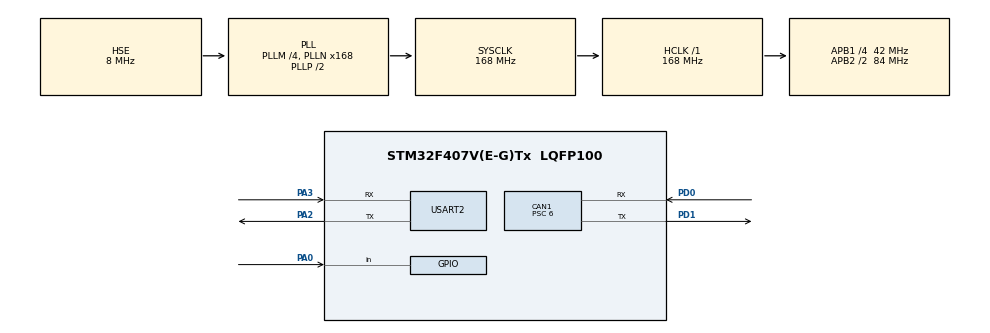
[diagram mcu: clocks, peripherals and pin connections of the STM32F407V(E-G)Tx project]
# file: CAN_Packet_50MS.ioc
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CAN1.BS1=CAN_BS1_11TQ
CAN1.BS2=CAN_BS2_2TQ
CAN1.CalculateBaudRate=500000
CAN1.CalculateTimeBit=2000
CAN1.CalculateTimeQuantum=142.85714285714286
CAN1.Mode=CAN_MODE_LOOPBACK
CAN1.Prescaler=6
FREERTOS.BinarySemaphores01=BinSem,Dynamic,NULL
FREERTOS.Mutexes01=CANMutex,Dynamic,NULL
FREERTOS.Tasks01=CAN1,-2,128,CanLowPriorityTask,Default,NULL,Dynamic,NULL,NULL;CAN2,0,128,CanNormalPriorityTask,Default,NULL,Dynamic,NULL,NULL;CAN3,1,128,CANAboveNormalPriorityTask,Default,NULL,Dynamic,NULL,NULL;CAN4,2,128,CANHighPriorityTask,Default,NULL,Dynamic,NULL,NULL
FREERTOS.configUSE_NEWLIB_REENTRANT=1
Mcu.Family=STM32F4
Mcu.Name=STM32F407V(E-G)Tx
Mcu.Package=LQFP100
NVIC.PriorityGroup=NVIC_PRIORITYGROUP_4
NVIC.TIM1_UP_TIM10_IRQn=true\:15\:0\:false\:false\:true\:false\:false\:true\:true
NVIC.TimeBase=TIM1_UP_TIM10_IRQn
NVIC.TimeBaseIP=TIM1
PA0-WKUP.Signal=GPIO_Input
PA2.Mode=Asynchronous
PA2.Signal=USART2_TX
PA3.Mode=Asynchronous
PA3.Signal=USART2_RX
PD0.Mode=CAN_Activate
PD0.Signal=CAN1_RX
PD1.Mode=CAN_Activate
PD1.Signal=CAN1_TX
PH0-OSC_IN.Mode=HSE-External-Oscillator
PH0-OSC_IN.Signal=RCC_OSC_IN
PH1-OSC_OUT.Mode=HSE-External-Oscillator
PH1-OSC_OUT.Signal=RCC_OSC_OUT
ProjectManager.HeapSize=0x200
ProjectManager.StackSize=0x400
ProjectManager.TargetToolchain=STM32CubeIDE
RCC.48MHZClocksFreq_Value=48000000
RCC.AHBFreq_Value=168000000
RCC.APB1CLKDivider=RCC_HCLK_DIV4
RCC.APB1Freq_Value=42000000
RCC.APB1TimFreq_Value=84000000
RCC.APB2CLKDivider=RCC_HCLK_DIV2
RCC.APB2Freq_Value=84000000
RCC.APB2TimFreq_Value=168000000
RCC.CortexFreq_Value=168000000
RCC.HCLKFreq_Value=168000000
RCC.HSE_VALUE=8000000
RCC.HSI_VALUE=16000000
RCC.LSE_VALUE=32768
RCC.PLLM=4
RCC.PLLN=168
RCC.PLLQ=7
RCC.PLLSourceVirtual=RCC_PLLSOURCE_HSE
RCC.SYSCLKFreq_VALUE=168000000
RCC.SYSCLKSource=RCC_SYSCLKSOURCE_PLLCLK
RCC.VCOOutputFreq_Value=336000000
USART2.VirtualMode=VM_ASYNC
VP_FREERTOS_VS_CMSIS_V1.Mode=CMSIS_V1
VP_SYS_VS_tim1.Mode=TIM1
board=STM32F407G-DISC1

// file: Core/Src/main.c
/* USER CODE BEGIN Header */
/**
  ******************************************************************************
  * @file           : main.c
  * @brief          : Main program body
  ******************************************************************************
  * @attention
  *
  * Copyright (c) 2024 STMicroelectronics.
  * All rights reserved.
  *
  * This software is licensed under terms that can be found in the LICENSE file
  * in the root directory of this software component.
  * If no LICENSE file comes with this software, it is provided AS-IS.
  *
  ******************************************************************************
  */
/* USER CODE END Header */
#include "main.h"
#include "cmsis_os.h"

/* USER CODE BEGIN Includes */
#include <string.h>
#include <stdio.h>

/* USER CODE END Includes */

CAN_HandleTypeDef hcan1;

UART_HandleTypeDef huart2;

osThreadId CAN1Handle;
osThreadId CAN2Handle;
osThreadId CAN3Handle;
osThreadId CAN4Handle;
osMutexId CANMutexHandle;
osSemaphoreId BinSemHandle;
/* USER CODE BEGIN PV */

CAN_TxHeaderTypeDef TxHeader;

uint8_t TxData[8];

uint32_t TxMailBox;
uint8_t x=0;

/* USER CODE END PV */

void SystemClock_Config(void);
static void MX_GPIO_Init(void);
static void MX_USART2_UART_Init(void);
static void MX_CAN1_Init(void);
void CanLowPriorityTask(void const * argument);
void CanNormalPriorityTask(void const * argument);
void CANAboveNormalPriorityTask(void const * argument);
void CANHighPriorityTask(void const * argument);

/* USER CODE BEGIN PFP */
void printmsg(char *msg);
void CAN_HP(void);
void CAN_LP(void);
void CAN_NP(void);
void CAN_ANP(void);

/* USER CODE END PFP */

int main(void)
{

  /* MCU Configuration--------------------------------------------------------*/

  /* Reset of all peripherals, Initializes the Flash interface and the Systick. */
  HAL_Init();

  /* Configure the system clock */
  SystemClock_Config();

  /* Initialize all configured peripherals */
  MX_GPIO_Init();
  MX_USART2_UART_Init();
  MX_CAN1_Init();
  /* USER CODE BEGIN 2 */

HAL_CAN_Start(&hcan1);

  /* USER CODE END 2 */

  /* Create the mutex(es) */
  /* definition and creation of CANMutex */
  osMutexDef(CANMutex);
  CANMutexHandle = osMutexCreate(osMutex(CANMutex));

  /* Create the semaphores(s) */
  /* definition and creation of BinSem */
  osSemaphoreDef(BinSem);
  BinSemHandle = osSemaphoreCreate(osSemaphore(BinSem), 1);

  /* Create the thread(s) */
  /* definition and creation of CAN1 */
  osThreadDef(CAN1, CanLowPriorityTask, osPriorityLow, 0, 128);
  CAN1Handle = osThreadCreate(osThread(CAN1), NULL);

  /* definition and creation of CAN2 */
  osThreadDef(CAN2, CanNormalPriorityTask, osPriorityNormal, 0, 128);
  CAN2Handle = osThreadCreate(osThread(CAN2), NULL);

  /* definition and creation of CAN3 */
  osThreadDef(CAN3, CANAboveNormalPriorityTask, osPriorityAboveNormal, 0, 128);
  CAN3Handle = osThreadCreate(osThread(CAN3), NULL);

  /* definition and creation of CAN4 */
  osThreadDef(CAN4, CANHighPriorityTask, osPriorityHigh, 0, 128);
  CAN4Handle = osThreadCreate(osThread(CAN4), NULL);

  /* Start scheduler */
  osKernelStart();

  /* We should never get here as control is now taken by the scheduler */
  /* Infinite loop */
  while (1)
  {

  }
}

void SystemClock_Config(void)
{
  RCC_OscInitTypeDef RCC_OscInitStruct = {0};
  RCC_ClkInitTypeDef RCC_ClkInitStruct = {0};

  /** Configure the main internal regulator output voltage
  */
  __HAL_RCC_PWR_CLK_ENABLE();
  __HAL_PWR_VOLTAGESCALING_CONFIG(PWR_REGULATOR_VOLTAGE_SCALE1);

  /** Initializes the RCC Oscillators according to the specified parameters
  * in the RCC_OscInitTypeDef structure.
  */
  RCC_OscInitStruct.OscillatorType = RCC_OSCILLATORTYPE_HSE;
  RCC_OscInitStruct.HSEState = RCC_HSE_ON;
  RCC_OscInitStruct.PLL.PLLState = RCC_PLL_ON;
  RCC_OscInitStruct.PLL.PLLSource = RCC_PLLSOURCE_HSE;
  RCC_OscInitStruct.PLL.PLLM = 4;
  RCC_OscInitStruct.PLL.PLLN = 168;
  RCC_OscInitStruct.PLL.PLLP = RCC_PLLP_DIV2;
  RCC_OscInitStruct.PLL.PLLQ = 7;
  if (HAL_RCC_OscConfig(&RCC_OscInitStruct) != HAL_OK)
  {
    Error_Handler();
  }

  /** Initializes the CPU, AHB and APB buses clocks
  */
  RCC_ClkInitStruct.ClockType = RCC_CLOCKTYPE_HCLK|RCC_CLOCKTYPE_SYSCLK
                              |RCC_CLOCKTYPE_PCLK1|RCC_CLOCKTYPE_PCLK2;
  RCC_ClkInitStruct.SYSCLKSource = RCC_SYSCLKSOURCE_PLLCLK;
  RCC_ClkInitStruct.AHBCLKDivider = RCC_SYSCLK_DIV1;
  RCC_ClkInitStruct.APB1CLKDivider = RCC_HCLK_DIV4;
  RCC_ClkInitStruct.APB2CLKDivider = RCC_HCLK_DIV2;

  if (HAL_RCC_ClockConfig(&RCC_ClkInitStruct, FLASH_LATENCY_5) != HAL_OK)
  {
    Error_Handler();
  }
}

static void MX_CAN1_Init(void)
{

  hcan1.Instance = CAN1;
  hcan1.Init.Prescaler = 6;
  hcan1.Init.Mode = CAN_MODE_LOOPBACK;
  hcan1.Init.SyncJumpWidth = CAN_SJW_1TQ;
  hcan1.Init.TimeSeg1 = CAN_BS1_11TQ;
  hcan1.Init.TimeSeg2 = CAN_BS2_2TQ;
  hcan1.Init.TimeTriggeredMode = DISABLE;
  hcan1.Init.AutoBusOff = DISABLE;
  hcan1.Init.AutoWakeUp = DISABLE;
  hcan1.Init.AutoRetransmission = DISABLE;
  hcan1.Init.ReceiveFifoLocked = DISABLE;
  hcan1.Init.TransmitFifoPriority = DISABLE;
  if (HAL_CAN_Init(&hcan1) != HAL_OK)
  {
    Error_Handler();
  }
  /* USER CODE BEGIN CAN1_Init 2 */

  //configure CAN peripheral

 CAN_FilterTypeDef FilterConfig;

 FilterConfig.FilterBank = 10;
 FilterConfig.FilterMode = CAN_FILTERMODE_IDMASK;
 FilterConfig.FilterScale = CAN_FILTERSCALE_32BIT;
 FilterConfig.FilterIdHigh = 0x18FD;
 FilterConfig.FilterIdLow = 0xB7FE<<3;
 FilterConfig.FilterMaskIdHigh = 0xFFFF;
 FilterConfig.FilterMaskIdLow = 0xFFFF<<3;
 FilterConfig.FilterFIFOAssignment = CAN_RX_FIFO0;
 FilterConfig.FilterActivation = ENABLE;
 FilterConfig.SlaveStartFilterBank = 14;

 HAL_CAN_ConfigFilter(&hcan1, &FilterConfig);

  /* USER CODE END CAN1_Init 2 */

}

static void MX_USART2_UART_Init(void)
{

  huart2.Instance = USART2;
  huart2.Init.BaudRate = 115200;
  huart2.Init.WordLength = UART_WORDLENGTH_8B;
  huart2.Init.StopBits = UART_STOPBITS_1;
  huart2.Init.Parity = UART_PARITY_NONE;
  huart2.Init.Mode = UART_MODE_TX_RX;
  huart2.Init.HwFlowCtl = UART_HWCONTROL_NONE;
  huart2.Init.OverSampling = UART_OVERSAMPLING_16;
  if (HAL_UART_Init(&huart2) != HAL_OK)
  {
    Error_Handler();
  }

}

static void MX_GPIO_Init(void)
{
  GPIO_InitTypeDef GPIO_InitStruct = {0};

  /* GPIO Ports Clock Enable */
  __HAL_RCC_GPIOH_CLK_ENABLE();
  __HAL_RCC_GPIOA_CLK_ENABLE();
  __HAL_RCC_GPIOD_CLK_ENABLE();

  /*Configure GPIO pin : PA0 */
  GPIO_InitStruct.Pin = GPIO_PIN_0;
  GPIO_InitStruct.Mode = GPIO_MODE_INPUT;
  GPIO_InitStruct.Pull = GPIO_NOPULL;
  HAL_GPIO_Init(GPIOA, &GPIO_InitStruct);

}

/* USER CODE BEGIN 4 */

void printmsg( char *msg)
{
	HAL_UART_Transmit(&huart2, (uint8_t*)msg,strlen(msg),1000);
}

void CAN_HP(void)
{
	TxHeader.IDE = CAN_ID_EXT;
	TxHeader.ExtId = 0x18FDB7FE;
	TxHeader.RTR = CAN_RTR_DATA ;
	TxHeader.DLC = 8;

	TxData[0]=x;
	TxData[1]=0x2A;
	TxData[2]=0x30;
	TxData[3]=0x4A;
	TxData[4]=0x50;
	TxData[5]=0x6A;
	TxData[6]=0x70;
	TxData[7]=0x8A;

	HAL_CAN_AddTxMessage(&hcan1, &TxHeader, TxData, &TxMailBox);

}

void CAN_ANP(void)
{
		TxHeader.IDE = CAN_ID_EXT;
		TxHeader.ExtId = 0x18FDB7FE;
		TxHeader.RTR = CAN_RTR_DATA ;
		TxHeader.DLC = 8;

		TxData[0]=x;
		TxData[1]=0xA2;
		TxData[2]=0x53;
		TxData[3]=0xA4;
		TxData[4]=0x55;
		TxData[5]=0xA6;
		TxData[6]=0x57;
		TxData[7]=0xA8;

		HAL_CAN_AddTxMessage(&hcan1, &TxHeader, TxData, &TxMailBox);
}

void CAN_NP(void)
{
		TxHeader.IDE = CAN_ID_EXT;
		TxHeader.ExtId = 0x18FDB7FE;
		TxHeader.RTR = CAN_RTR_DATA ;
		TxHeader.DLC = 8;

		TxData[0]=x;
		TxData[1]=0xA8;
		TxData[2]=0x57;
		TxData[3]=0xA6;
		TxData[4]=0x10;
		TxData[5]=0x2A;
		TxData[6]=0x30;
		TxData[7]=0x4A;

		HAL_CAN_AddTxMessage(&hcan1, &TxHeader, TxData, &TxMailBox);
}

void CAN_LP(void)
{

		TxHeader.IDE = CAN_ID_EXT;
		TxHeader.ExtId = 0x18FDB7FE;
		TxHeader.RTR = CAN_RTR_DATA ;
		TxHeader.DLC = 8;

		TxData[0]=x;
		TxData[1]=0xA6;
		TxData[2]=0x30;
		TxData[3]=0xA6;
		TxData[4]=0x20;
		TxData[5]=0xA6;
		TxData[6]=0x52;
		TxData[7]=0xA0;

		HAL_CAN_AddTxMessage(&hcan1, &TxHeader, TxData, &TxMailBox);

}

/* USER CODE END 4 */

void CanLowPriorityTask(void const * argument)
{
  /* USER CODE BEGIN 5 */
  /* Infinite loop */
  for(;;)
  {
	  	  	  osMutexWait(CANMutexHandle, osWaitForever);
	  	  	  /*char *str1="entered low priority CAN task\n\r";
	  	  	  printmsg(str1)*;*/
	  		  /*char *str2 = "semaphore acquired by CAN Low task\n\r";
	  		  printmsg(str2);*/
	 	 	  x+=1;
	  		  CAN_LP();

	  	      osMutexRelease(CANMutexHandle);
	  	      //char *str3 = "leaving low priority CAN task\n\r";
	  	      //printmsg(str3);
	  	      osDelay(50);
  }
  /* USER CODE END 5 */
}

void CanNormalPriorityTask(void const * argument)
{
  /* USER CODE BEGIN CanNormalPriorityTask */
  /* Infinite loop */
  for(;;)
  {
	  	  	  osMutexWait(CANMutexHandle, osWaitForever);
	  	  /*char *str1="entered normal priority CAN task\n\r";
	  	  printmsg(str1);
	  		  char *str2 = "semaphore acquired by CAN High task\n\r";
	  		  printmsg(str2);*/
	  	  	  x+=1;
	  		  CAN_NP();

	  	      osMutexRelease(CANMutexHandle);

	  	     // char *str3 = "leaving normal priority CAN task\n\r";
	  	      //printmsg(str3);
	  	      osDelay(50);
  }
  /* USER CODE END CanNormalPriorityTask */
}

void CANAboveNormalPriorityTask(void const * argument)
{
  /* USER CODE BEGIN CANAboveNormalPriorityTask */
  /* Infinite loop */
  for(;;)
  {
	  	  	  osMutexWait(CANMutexHandle, osWaitForever);
	  /*char *str1="entered above normal priority CAN task\n\r";
	  	  	  printmsg(str1);
        char *str2 = "semaphore acquired by CAN High task\n\r";
	  		  printmsg(str2);*/
	  	  	  x+=1;
	  		  CAN_ANP();

	  	      osMutexRelease(CANMutexHandle);
	  	    // char *str3 = "leaving above normal priority CAN task\n\r";
	  	      //printmsg(str3);
	  	      osDelay(50);
  }
  /* USER CODE END CANAboveNormalPriorityTask */
}

void CANHighPriorityTask(void const * argument)
{
  /* USER CODE BEGIN CANHighPriorityTask */
  /* Infinite loop */
  for(;;)
  {

	  osMutexWait(CANMutexHandle, osWaitForever);
	  /*char *str1="entered high priority CAN task\n\r";
	  printmsg(str1);

	  char *str2 = "semaphore acquired by CAN High task\n\r";
	  printmsg(str2);*/
	  x+=1;
	  CAN_HP();

      osMutexRelease(CANMutexHandle);
	 //char *str3 = "leaving high priority CAN task\n\r";
	  //printmsg(str3);
    osDelay(50);
  }
  /* USER CODE END CANHighPriorityTask */
}

void HAL_TIM_PeriodElapsedCallback(TIM_HandleTypeDef *htim)
{
  if (htim->Instance == TIM1) {
    HAL_IncTick();
  }
}

void Error_Handler(void)
{
  __disable_irq();
  while (1)
  {
  }
}
